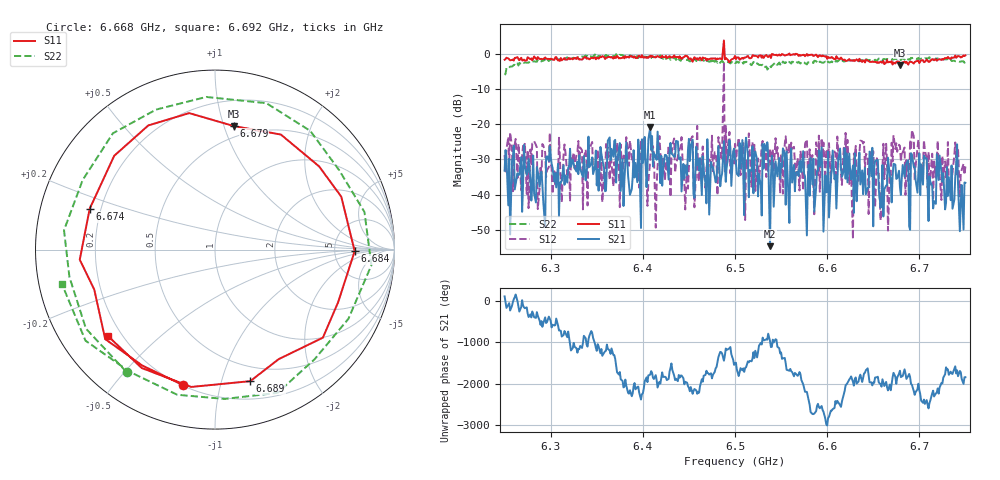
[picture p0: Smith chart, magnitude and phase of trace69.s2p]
# Hz S RI R 50
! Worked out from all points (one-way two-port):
!   401 points, 6.25 GHz to 6.75 GHz, reference 50 ohm
!   highest |S21| = -20.75 dB at 6.408 GHz (marker M1); lowest = -54.7 dB at 6.538 GHz (marker M2)
!   lowest |S11| = -3.1 dB at 6.679 GHz (marker M3), VSWR 5.59, Z = 20.2 + j53.9 ohm
!   |S11| at or under -10 dB: nowhere
!   |S22| runs from -5.9 to -0.1 dB; largest |S21 - S12| = 0.82
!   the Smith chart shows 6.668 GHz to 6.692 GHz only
!   S11 on the Smith chart (normalised r, x): 6.668 GHz: 0.20, -0.77; 6.674 GHz: 0.16, +0.15; 6.679 GHz: 0.40, +1.08; 6.684 GHz: 8.00, -0.35; 6.689 GHz: 0.36, -1.24; 6.692 GHz: 0.15, -0.35
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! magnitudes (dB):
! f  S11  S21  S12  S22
! 6.25 GHz  -1.6  -33.2  -28.8  -5.9
! 6.291 GHz  -1.5  -37.3  -25.6  -1.7
! 6.298 GHz  -1.4  -30.5  -32.2  -2.0
! 6.309 GHz  -1.6  -46.1  -23.8  -1.5
! 6.334 GHz  -1.6  -34.3  -27.4  -0.7
! 6.368 GHz  -1.3  -29.2  -37.7  -0.7
! 6.386 GHz  -0.7  -40.0  -24.6  -0.4
! 6.408 GHz  -0.5  -20.7  -30.3  -0.9
! 6.418 GHz  -0.9  -31.1  -23.3  -0.6
! 6.5 GHz  -0.6  -30.0  -25.6  -2.6
! 6.538 GHz  -0.4  -54.7  -26.8  -3.3
! 6.584 GHz  -0.2  -37.1  -28.7  -2.4
! 6.62 GHz  -1.9  -35.5  -22.4  -2.3
! 6.626 GHz  -1.8  -35.7  -33.7  -1.8
! 6.638 GHz  -2.3  -33.1  -24.8  -1.7
! 6.668 GHz  -2.2  -34.7  -34.1  -1.5
! 6.674 GHz  -2.7  -31.5  -27.0  -1.3
! 6.679 GHz  -3.1  -37.9  -26.2  -1.4
! 6.684 GHz  -2.2  -34.9  -26.6  -1.5
! 6.689 GHz  -2.4  -49.0  -38.1  -1.6
! 6.692 GHz  -2.3  -28.6  -21.6  -1.2
! 6.75 GHz  -0.4  -36.6  -32.0  -2.1
